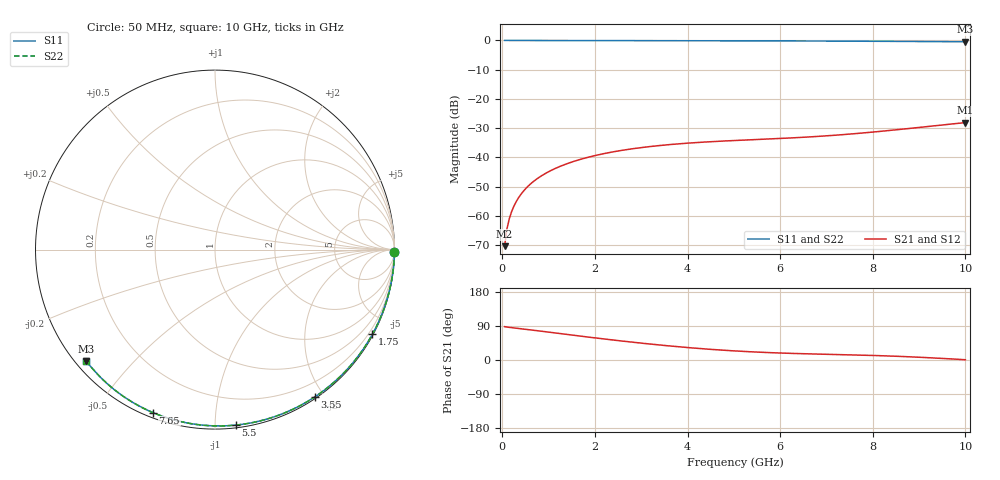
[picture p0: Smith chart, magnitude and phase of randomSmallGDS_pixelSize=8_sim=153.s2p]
! freq	dB(S11)	phase(S11)	dB(S12)	phase(S12)
!  dB(S21)	phase(S21)	dB(S22)	phase(S22)
!S-par simulation data
#  GHz  S  DB  R 50
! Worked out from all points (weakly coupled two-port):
!   200 points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, 50 MHz to 10 GHz, reference 50 ohm
!   highest |S21| = -28.11 dB at 10 GHz (marker M1); lowest = -70.4 dB at 50 MHz (marker M2)
!   lowest |S11| = -0.5 dB at 10 GHz (marker M3), VSWR 37.69, Z = 1.51 - j18.7 ohm
!   |S11| at or under -10 dB: nowhere
!   |S22| runs from -0.5 to 0.0 dB; largest |S21 - S12| = 0
!   S11 on the Smith chart (normalised r, x): 50 MHz: open; 1.75 GHz: 0.03, -3.98; 3.55 GHz: 0.02, -1.89; 5.5 GHz: 0.02, -1.12; 7.65 GHz: 0.02, -0.69; 10 GHz: 0.03, -0.37
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0.05  -0.00 -0.8  -70.42 88.0  -70.42 88.0  -0.00 -0.8
0.1  -0.00 -1.6  -64.53 86.9  -64.53 86.9  -0.00 -1.6
0.15  -0.00 -2.5  -61.10 86.2  -61.10 86.2  -0.00 -2.5
0.2  -0.00 -3.3  -58.66 85.5  -58.66 85.5  -0.00 -3.3
0.25  -0.00 -4.1  -56.75 84.9  -56.75 84.9  -0.00 -4.1
0.35  -0.00 -5.7  -53.87 83.5  -53.87 83.5  -0.00 -5.7
0.5  -0.01 -8.2  -50.81 81.3  -50.81 81.3  -0.01 -8.2
0.7  -0.01 -11.4  -47.94 78.2  -47.94 78.2  -0.01 -11.4
1  -0.02 -16.3  -44.93 73.6  -44.93 73.6  -0.02 -16.3
1.35  -0.03 -21.9  -42.46 68.2  -42.46 68.2  -0.03 -21.9
1.75  -0.04 -28.2  -40.42 62.1  -40.42 62.1  -0.04 -28.2
2.5  -0.05 -39.9  -37.83 51.2  -37.83 51.2  -0.05 -39.9
3.4  -0.07 -53.5  -35.96 39.6  -35.96 39.6  -0.07 -53.6
3.55  -0.08 -55.8  -35.74 37.8  -35.74 37.8  -0.08 -55.8
4.3  -0.09 -66.7  -34.84 29.9  -34.84 29.9  -0.09 -66.7
5.05  -0.12 -77.2  -34.22 23.7  -34.22 23.7  -0.12 -77.2
5.5  -0.13 -83.3  -33.91 20.9  -33.91 20.9  -0.13 -83.3
6.7  -0.19 -99.0  -32.96 15.9  -32.96 15.9  -0.19 -99.0
7.65  -0.25 -110.9  -31.86 13.2  -31.86 13.2  -0.25 -110.9
8.35  -0.30 -119.4  -30.83 10.6  -30.83 10.6  -0.30 -119.4
9.2  -0.38 -129.6  -29.45 6.1  -29.45 6.1  -0.38 -129.6
10  -0.46 -139.0  -28.11 0.7  -28.11 0.7  -0.46 -139.1
